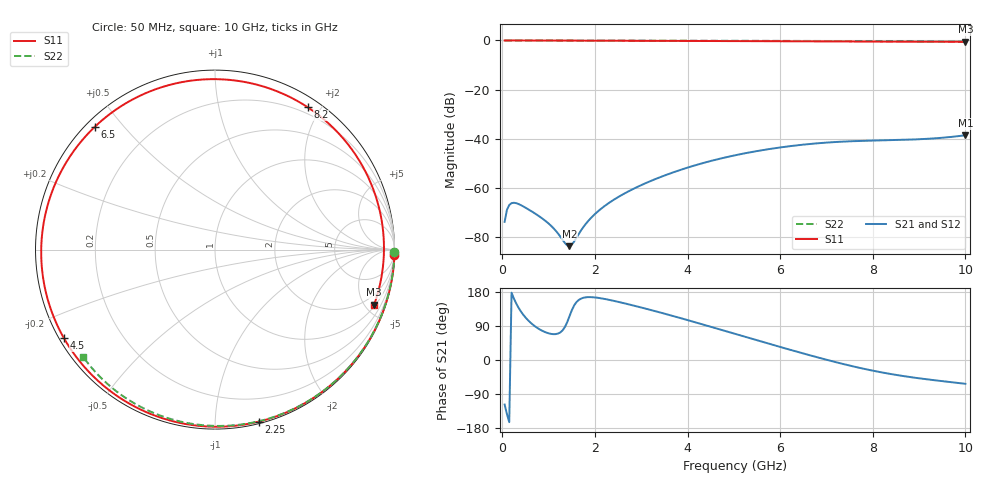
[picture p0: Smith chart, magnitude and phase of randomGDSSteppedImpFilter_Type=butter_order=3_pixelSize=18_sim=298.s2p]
! freq	dB(S11)	phase(S11)	dB(S12)	phase(S12)
!  dB(S21)	phase(S21)	dB(S22)	phase(S22)
!S-par simulation data
#  GHz  S  DB  R 50
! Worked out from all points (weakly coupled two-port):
!   200 points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, 50 MHz to 10 GHz, reference 50 ohm
!   highest |S21| = -38.56 dB at 10 GHz (marker M1); lowest = -83.7 dB at 1.45 GHz (marker M2)
!   lowest |S11| = -0.6 dB at 10 GHz (marker M3), VSWR 31.32, Z = 55.9 - j286 ohm
!   |S11| at or under -10 dB: nowhere
!   |S22| runs from -0.5 to 0.0 dB; largest |S21 - S12| = 0
!   S11 on the Smith chart (normalised r, x): 50 MHz: 0, -67; 2.25 GHz: 0.01, -1.29; 4.5 GHz: 0.01, -0.27; 6.5 GHz: 0.03, +0.42; 8.2 GHz: 0.12, +1.84; 10 GHz: 1.12, -5.73
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0.05  -0.00 -1.7  -73.80 -117.5  -73.80 -117.5  -0.00 -0.8
0.1  -0.00 -3.4  -68.90 -142.5  -68.90 -142.5  -0.00 -1.6
0.15  -0.00 -5.2  -66.94 -164.1  -66.94 -164.1  -0.00 -2.4
0.3  -0.01 -10.3  -66.18 149.2  -66.18 149.2  -0.00 -4.9
0.9  -0.04 -30.7  -72.92 74.9  -72.92 74.9  -0.02 -14.6
1.25  -0.05 -42.5  -79.70 72.6  -79.70 72.6  -0.02 -20.2
1.45  -0.06 -49.2  -83.68 115.2  -83.68 115.2  -0.03 -23.4
1.6  -0.07 -54.2  -80.29 152.6  -80.29 152.6  -0.03 -25.8
1.75  -0.07 -59.2  -75.92 164.1  -75.92 164.1  -0.04 -28.2
2.25  -0.10 -75.6  -66.79 160.2  -66.79 160.2  -0.05 -36.0
2.8  -0.12 -93.6  -60.65 144.7  -60.65 144.7  -0.06 -44.5
3.4  -0.15 -113.1  -55.68 125.7  -55.68 125.7  -0.07 -53.6
4.5  -0.21 -149.8  -49.03 87.7  -49.03 87.7  -0.10 -69.6
5.05  -0.26 -169.1  -46.61 68.0  -46.61 68.0  -0.12 -77.4
5.8  -0.32 162.9  -44.07 41.4  -44.07 41.4  -0.15 -87.7
6.5  -0.38 134.3  -42.37 17.2  -42.37 17.2  -0.18 -97.0
6.7  -0.40 125.7  -42.00 10.5  -42.00 10.5  -0.19 -99.6
7.45  -0.45 91.8  -41.07 -13.2  -41.07 -13.2  -0.24 -109.2
8.2  -0.48 56.9  -40.65 -32.9  -40.65 -32.9  -0.30 -118.7
8.35  -0.48 49.9  -40.58 -36.2  -40.58 -36.2  -0.31 -120.6
9.15  -0.51 14.4  -40.04 -50.7  -40.04 -50.7  -0.38 -130.5
10  -0.55 -19.1  -38.56 -62.9  -38.56 -62.9  -0.47 -140.9
